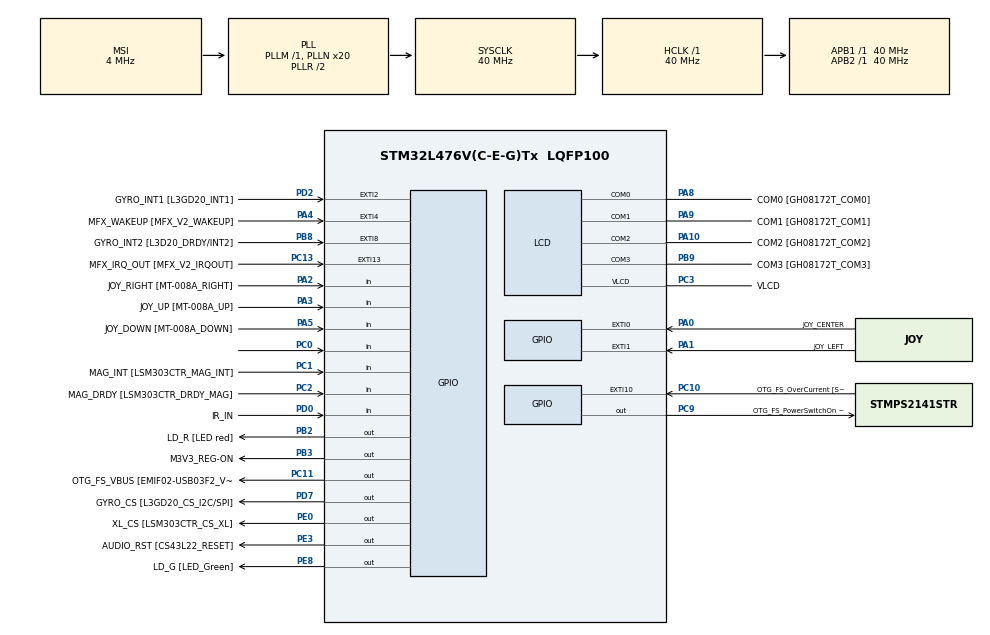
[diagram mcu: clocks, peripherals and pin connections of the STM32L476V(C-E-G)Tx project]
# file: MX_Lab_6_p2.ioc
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Mcu.Family=STM32L4
Mcu.Name=STM32L476V(C-E-G)Tx
Mcu.Package=LQFP100
NVIC.EXTI0_IRQn=true\:0\:0\:false\:false\:true\:true\:true\:true
NVIC.EXTI1_IRQn=true\:0\:0\:false\:false\:true\:true\:true\:true
NVIC.LCD_IRQn=true\:0\:0\:false\:false\:true\:true\:false\:true
NVIC.PriorityGroup=NVIC_PRIORITYGROUP_4
NVIC.TIM7_IRQn=true\:0\:0\:false\:false\:true\:true\:true\:true
PA0.GPIO_Label=JOY_CENTER
PA0.GPIO_PuPd=GPIO_PULLDOWN
PA0.Signal=GPXTI0
PA1.GPIO_Label=JOY_LEFT
PA1.GPIO_PuPd=GPIO_PULLDOWN
PA1.Signal=GPXTI1
PA10.GPIO_Label=COM2 [GH08172T_COM2]
PA10.GPIO_Mode=GPIO_MODE_AF_PP
PA10.GPIO_PuPd=GPIO_NOPULL
PA10.GPIO_Speed=GPIO_SPEED_FREQ_LOW
PA10.Mode=1/4 Duty Cycle
PA10.Signal=LCD_COM2
PA11.GPIO_Label=OTG_FS_DM [EMIF02-USB03F2_D-out]
PA11.GPIO_Mode=GPIO_MODE_AF_PP
PA11.GPIO_PuPd=GPIO_NOPULL
PA11.GPIO_Speed=GPIO_SPEED_FREQ_VERY_HIGH
PA11.Signal=USB_OTG_FS_DM
PA12.GPIO_Label=OTG_FS_DP [EMIF02-USB03F2_D+out]
PA12.GPIO_Mode=GPIO_MODE_AF_PP
PA12.GPIO_PuPd=GPIO_NOPULL
PA12.GPIO_Speed=GPIO_SPEED_FREQ_VERY_HIGH
PA12.Signal=USB_OTG_FS_DP
PA13\ (JTMS-SWDIO).GPIO_Label=SWDIO
PA13\ (JTMS-SWDIO).Mode=Serial_Wire
PA13\ (JTMS-SWDIO).Signal=SYS_JTMS-SWDIO
PA14\ (JTCK-SWCLK).GPIO_Label=SWCLK
PA14\ (JTCK-SWCLK).Mode=Serial_Wire
PA14\ (JTCK-SWCLK).Signal=SYS_JTCK-SWCLK
PA15\ (JTDI).GPIO_Label=SEG10 [GH08172T_SEG10]
PA15\ (JTDI).GPIO_Mode=GPIO_MODE_AF_PP
PA15\ (JTDI).GPIO_PuPd=GPIO_NOPULL
PA15\ (JTDI).GPIO_Speed=GPIO_SPEED_FREQ_LOW
PA15\ (JTDI).Signal=LCD_SEG17
PA2.GPIO_Label=JOY_RIGHT [MT-008A_RIGHT]
PA2.GPIO_Mode=GPIO_MODE_INPUT
PA2.GPIO_PuPd=GPIO_PULLDOWN
PA2.Signal=GPIO_Input
PA3.GPIO_Label=JOY_UP [MT-008A_UP]
PA3.GPIO_Mode=GPIO_MODE_INPUT
PA3.GPIO_PuPd=GPIO_PULLDOWN
PA3.Signal=GPIO_Input
PA4.GPIO_Label=MFX_WAKEUP [MFX_V2_WAKEUP]
PA4.GPIO_ModeDefaultEXTI=GPIO_MODE_EVT_RISING
PA4.GPIO_PuPd=GPIO_NOPULL
PA4.Signal=GPXTI4
PA5.GPIO_Label=JOY_DOWN [MT-008A_DOWN]
PA5.GPIO_Mode=GPIO_MODE_INPUT
PA5.GPIO_PuPd=GPIO_PULLDOWN
PA5.Signal=GPIO_Input
PA6.GPIO_Label=SEG23 [GH08172T_SEG23]
PA6.GPIO_Mode=GPIO_MODE_AF_PP
PA6.GPIO_PuPd=GPIO_NOPULL
PA6.GPIO_Speed=GPIO_SPEED_FREQ_LOW
PA6.Signal=LCD_SEG3
PA7.GPIO_Label=SEG0 [GH08172T_SEG0]
PA7.GPIO_Mode=GPIO_MODE_AF_PP
PA7.GPIO_PuPd=GPIO_NOPULL
PA7.GPIO_Speed=GPIO_SPEED_FREQ_LOW
PA7.Signal=LCD_SEG4
PA8.GPIO_Label=COM0 [GH08172T_COM0]
PA8.GPIO_Mode=GPIO_MODE_AF_PP
PA8.GPIO_PuPd=GPIO_NOPULL
PA8.GPIO_Speed=GPIO_SPEED_FREQ_LOW
PA8.Mode=1/4 Duty Cycle
PA8.Signal=LCD_COM0
PA9.GPIO_Label=COM1 [GH08172T_COM1]
PA9.GPIO_Mode=GPIO_MODE_AF_PP
PA9.GPIO_PuPd=GPIO_NOPULL
PA9.GPIO_Speed=GPIO_SPEED_FREQ_LOW
PA9.Mode=1/4 Duty Cycle
PA9.Signal=LCD_COM1
PB0.GPIO_Label=SEG21 [GH08172T_SEG21]
PB0.GPIO_Mode=GPIO_MODE_AF_PP
PB0.GPIO_PuPd=GPIO_NOPULL
PB0.GPIO_Speed=GPIO_SPEED_FREQ_LOW
PB0.Signal=LCD_SEG5
PB1.GPIO_Label=SEG2 [GH08172T_SEG2]
PB1.GPIO_Mode=GPIO_MODE_AF_PP
PB1.GPIO_PuPd=GPIO_NOPULL
PB1.GPIO_Speed=GPIO_SPEED_FREQ_LOW
PB1.Signal=LCD_SEG6
PB10.GPIO_Label=MFX_I2C_SLC [MFX_V2_I2C_SCL]
PB10.GPIO_Mode=GPIO_MODE_AF_OD
PB10.GPIO_Pu=GPIO_PULLUP
PB10.GPIO_Speed=GPIO_SPEED_FREQ_VERY_HIGH
PB10.Signal=I2C2_SCL
PB11.GPIO_Label=MFX_I2C_SDA [MFX_V2_I2C_SDA]
PB11.GPIO_Mode=GPIO_MODE_AF_OD
PB11.GPIO_Pu=GPIO_PULLUP
PB11.GPIO_Speed=GPIO_SPEED_FREQ_VERY_HIGH
PB11.Signal=I2C2_SDA
PB12.GPIO_Label=SEG20 [GH08172T_SEG20]
PB12.GPIO_Mode=GPIO_MODE_AF_PP
PB12.GPIO_PuPd=GPIO_NOPULL
PB12.GPIO_Speed=GPIO_SPEED_FREQ_LOW
PB12.Signal=LCD_SEG12
PB13.GPIO_Label=SEG3 [GH08172T_SEG3]
PB13.GPIO_Mode=GPIO_MODE_AF_PP
PB13.GPIO_PuPd=GPIO_NOPULL
PB13.GPIO_Speed=GPIO_SPEED_FREQ_LOW
PB13.Signal=LCD_SEG13
PB14.GPIO_Label=SEG19 [GH08172T_SEG19]
PB14.GPIO_Mode=GPIO_MODE_AF_PP
PB14.GPIO_PuPd=GPIO_NOPULL
PB14.GPIO_Speed=GPIO_SPEED_FREQ_LOW
PB14.Signal=LCD_SEG14
PB15.GPIO_Label=SEG4 [GH08172T_SEG4]
PB15.GPIO_Mode=GPIO_MODE_AF_PP
PB15.GPIO_PuPd=GPIO_NOPULL
PB15.GPIO_Speed=GPIO_SPEED_FREQ_LOW
PB15.Signal=LCD_SEG15
PB2.GPIO_Label=LD_R [LED red]
PB2.GPIO_ModeDefaultOutputPP=GPIO_MODE_OUTPUT_PP
PB2.GPIO_PuPd=GPIO_PULLUP
PB2.GPIO_Speed=GPIO_SPEED_FREQ_VERY_HIGH
PB2.Signal=GPIO_Output
PB3\ (JTDO-TRACESWO).GPIO_Label=M3V3_REG-ON
PB3\ (JTDO-TRACESWO).GPIO_ModeDefaultOutputPP=GPIO_MODE_OUTPUT_PP
PB3\ (JTDO-TRACESWO).GPIO_PuPd=GPIO_NOPULL
PB3\ (JTDO-TRACESWO).GPIO_Speed=GPIO_SPEED_FREQ_LOW
PB3\ (JTDO-TRACESWO).Signal=GPIO_Output
PB4\ (NJTRST).GPIO_Label=SEG11 [GH08172T_SEG11]
PB4\ (NJTRST).GPIO_Mode=GPIO_MODE_AF_PP
PB4\ (NJTRST).GPIO_PuPd=GPIO_NOPULL
PB4\ (NJTRST).GPIO_Speed=GPIO_SPEED_FREQ_LOW
PB4\ (NJTRST).Signal=LCD_SEG8
PB5.GPIO_Label=SEG12 [GH08172T_SEG12]
PB5.GPIO_Mode=GPIO_MODE_AF_PP
PB5.GPIO_PuPd=GPIO_NOPULL
PB5.GPIO_Speed=GPIO_SPEED_FREQ_LOW
PB5.Signal=LCD_SEG9
PB6.GPIO_FM6=__NULL
PB6.GPIO_Label=I2C1_SCL [SSM-104-L-DH_SCL]
PB6.GPIO_Mode=GPIO_MODE_AF_OD
PB6.GPIO_Pu=GPIO_PULLUP
PB6.GPIO_Speed=GPIO_SPEED_FREQ_VERY_HIGH
PB6.Signal=I2C1_SCL
PB7.GPIO_FM7=__NULL
PB7.GPIO_Label=I2C1_SDA [SSM-104-L-DH_SDA]
PB7.GPIO_Mode=GPIO_MODE_AF_OD
PB7.GPIO_Pu=GPIO_PULLUP
PB7.GPIO_Speed=GPIO_SPEED_FREQ_VERY_HIGH
PB7.Signal=I2C1_SDA
PB8.GPIO_Label=GYRO_INT2 [L3D20_DRDY/INT2]
PB8.GPIO_ModeDefaultEXTI=GPIO_MODE_EVT_RISING
PB8.GPIO_PuPd=GPIO_NOPULL
PB8.Signal=GPXTI8
PB9.GPIO_FM9=__NULL
PB9.GPIO_Label=COM3 [GH08172T_COM3]
PB9.GPIO_Mode=GPIO_MODE_AF_PP
PB9.GPIO_PuPd=GPIO_NOPULL
PB9.GPIO_Speed=GPIO_SPEED_FREQ_LOW
PB9.Mode=1/4 Duty Cycle
PB9.Signal=LCD_COM3
PC0.Signal=GPIO_Input
PC1.GPIO_Label=MAG_INT [LSM303CTR_MAG_INT]
PC1.GPIO_Mode=GPIO_MODE_INPUT
PC1.GPIO_PuPd=GPIO_NOPULL
PC1.Signal=GPIO_Input
PC10.GPIO_Label=OTG_FS_OverCurrent [STMPS2141STR_FAULT]
PC10.GPIO_ModeDefaultEXTI=GPIO_MODE_EVT_RISING
PC10.GPIO_PuPd=GPIO_NOPULL
PC10.Signal=GPXTI10
PC11.GPIO_Label=OTG_FS_VBUS [EMIF02-USB03F2_Vbus]
PC11.GPIO_ModeDefaultOutputPP=GPIO_MODE_OUTPUT_PP
PC11.GPIO_PuPd=GPIO_NOPULL
PC11.GPIO_Speed=GPIO_SPEED_FREQ_LOW
PC11.Signal=GPIO_Output
PC13.GPIO_Label=MFX_IRQ_OUT [MFX_V2_IRQOUT]
PC13.GPIO_ModeDefaultEXTI=GPIO_MODE_EVT_RISING
PC13.GPIO_PuPd=GPIO_NOPULL
PC13.Signal=GPXTI13
PC14-OSC32_IN\ (PC14).Mode=LSE-External-Oscillator
PC14-OSC32_IN\ (PC14).Signal=RCC_OSC32_IN
PC15-OSC32_OUT\ (PC15).Mode=LSE-External-Oscillator
PC15-OSC32_OUT\ (PC15).Signal=RCC_OSC32_OUT
PC2.GPIO_Label=MAG_DRDY [LSM303CTR_DRDY_MAG]
PC2.GPIO_Mode=GPIO_MODE_INPUT
PC2.GPIO_PuPd=GPIO_NOPULL
PC2.Signal=GPIO_Input
PC3.GPIO_Label=VLCD
PC3.GPIO_Mode=GPIO_MODE_AF_PP
PC3.GPIO_PuPd=GPIO_NOPULL
PC3.GPIO_Speed=GPIO_SPEED_FREQ_LOW
PC3.Mode=1/4 Duty Cycle
PC3.Signal=LCD_VLCD
PC4.GPIO_Label=SEG22 [GH08172T_SEG22]
PC4.GPIO_Mode=GPIO_MODE_AF_PP
PC4.GPIO_PuPd=GPIO_NOPULL
PC4.GPIO_Speed=GPIO_SPEED_FREQ_LOW
PC4.Signal=LCD_SEG22
PC5.GPIO_Label=SEG1 [GH08172T_SEG1]
PC5.GPIO_Mode=GPIO_MODE_AF_PP
PC5.GPIO_PuPd=GPIO_NOPULL
PC5.GPIO_Speed=GPIO_SPEED_FREQ_LOW
PC5.Signal=LCD_SEG23
PC6.GPIO_Label=SEG14 [GH08172T_SEG14]
PC6.GPIO_Mode=GPIO_MODE_AF_PP
PC6.GPIO_PuPd=GPIO_NOPULL
PC6.GPIO_Speed=GPIO_SPEED_FREQ_LOW
PC6.Signal=LCD_SEG24
PC7.GPIO_Label=SEG9 [GH08172T_SEG9]
PC7.GPIO_Mode=GPIO_MODE_AF_PP
PC7.GPIO_PuPd=GPIO_NOPULL
PC7.GPIO_Speed=GPIO_SPEED_FREQ_LOW
PC7.Signal=LCD_SEG25
PC8.GPIO_Label=SEG13 [GH08172T_SEG13]
PC8.GPIO_Mode=GPIO_MODE_AF_PP
PC8.GPIO_PuPd=GPIO_NOPULL
PC8.GPIO_Speed=GPIO_SPEED_FREQ_LOW
PC8.Signal=LCD_SEG26
PC9.GPIO_Label=OTG_FS_PowerSwitchOn [STMPS2141STR_EN]
PC9.GPIO_ModeDefaultOutputPP=GPIO_MODE_OUTPUT_PP
PC9.GPIO_PuPd=GPIO_NOPULL
PC9.GPIO_Speed=GPIO_SPEED_FREQ_LOW
PC9.PinState=GPIO_PIN_SET
PC9.Signal=GPIO_Output
PD0.GPIO_Label=IR_IN
PD0.Signal=GPIO_Input
PD1.GPIO_Label=MEMS_SCK [L3GD20_SCL/SPC]
PD1.GPIO_Mode=GPIO_MODE_AF_PP
PD1.GPIO_PuPd=GPIO_NOPULL
PD1.GPIO_Speed=GPIO_SPEED_FREQ_VERY_HIGH
PD1.Signal=SPI2_SCK
PD10.GPIO_Label=SEG17 [GH08172T_SEG17]
PD10.GPIO_Mode=GPIO_MODE_AF_PP
PD10.GPIO_PuPd=GPIO_NOPULL
PD10.GPIO_Speed=GPIO_SPEED_FREQ_LOW
PD10.Signal=LCD_SEG30
PD11.GPIO_Label=SEG6 [GH08172T_SEG6]
PD11.GPIO_Mode=GPIO_MODE_AF_PP
PD11.GPIO_PuPd=GPIO_NOPULL
PD11.GPIO_Speed=GPIO_SPEED_FREQ_LOW
PD11.Signal=LCD_SEG31
PD12.GPIO_Label=SEG16 [GH08172T_SEG16]
PD12.GPIO_Mode=GPIO_MODE_AF_PP
PD12.GPIO_PuPd=GPIO_NOPULL
PD12.GPIO_Speed=GPIO_SPEED_FREQ_LOW
PD12.Signal=LCD_SEG32
PD13.GPIO_Label=SEG7 [GH08172T_SEG7]
PD13.GPIO_Mode=GPIO_MODE_AF_PP
PD13.GPIO_PuPd=GPIO_NOPULL
PD13.GPIO_Speed=GPIO_SPEED_FREQ_LOW
PD13.Signal=LCD_SEG33
PD14.GPIO_Label=SEG15 [GH08172T_SEG15]
PD14.GPIO_Mode=GPIO_MODE_AF_PP
PD14.GPIO_PuPd=GPIO_NOPULL
PD14.GPIO_Speed=GPIO_SPEED_FREQ_LOW
PD14.Signal=LCD_SEG34
PD15.GPIO_Label=SEG8 [GH08172T_SEG8]
PD15.GPIO_Mode=GPIO_MODE_AF_PP
PD15.GPIO_PuPd=GPIO_NOPULL
PD15.GPIO_Speed=GPIO_SPEED_FREQ_LOW
PD15.Signal=LCD_SEG35
PD2.GPIO_Label=GYRO_INT1 [L3GD20_INT1]
PD2.GPIO_ModeDefaultEXTI=GPIO_MODE_EVT_RISING
PD2.GPIO_PuPd=GPIO_NOPULL
PD2.Signal=GPXTI2
PD3.GPIO_Label=MEMS_MISO [L3GD20_SA0/SDO]
PD3.GPIO_Mode=GPIO_MODE_AF_PP
PD3.GPIO_PuPd=GPIO_NOPULL
PD3.GPIO_Speed=GPIO_SPEED_FREQ_VERY_HIGH
PD3.Signal=SPI2_MISO
PD4.GPIO_Label=MEMS_MOSI [L3GD20_SDA/SDI/SDO]
PD4.GPIO_Mode=GPIO_MODE_AF_PP
PD4.GPIO_PuPd=GPIO_NOPULL
PD4.GPIO_Speed=GPIO_SPEED_FREQ_VERY_HIGH
PD4.Signal=SPI2_MOSI
PD5.GPIO_Label=USART_TX
PD5.GPIO_Mode=GPIO_MODE_AF_PP
PD5.GPIO_PuPd=GPIO_PULLUP
PD5.GPIO_Speed=GPIO_SPEED_FREQ_VERY_HIGH
PD5.Signal=USART2_TX
PD6.GPIO_Label=USART_RX
PD6.GPIO_Mode=GPIO_MODE_AF_PP
PD6.GPIO_PuPd=GPIO_PULLUP
PD6.GPIO_Speed=GPIO_SPEED_FREQ_VERY_HIGH
PD6.Signal=USART2_RX
PD7.GPIO_Label=GYRO_CS [L3GD20_CS_I2C/SPI]
PD7.GPIO_ModeDefaultOutputPP=GPIO_MODE_OUTPUT_PP
PD7.GPIO_PuPd=GPIO_NOPULL
PD7.GPIO_Speed=GPIO_SPEED_FREQ_VERY_HIGH
PD7.Signal=GPIO_Output
PD8.GPIO_Label=SEG18 [GH08172T_SEG18]
PD8.GPIO_Mode=GPIO_MODE_AF_PP
PD8.GPIO_PuPd=GPIO_NOPULL
PD8.GPIO_Speed=GPIO_SPEED_FREQ_LOW
PD8.Signal=LCD_SEG28
PD9.GPIO_Label=SEG5 [GH08172T_SEG5]
PD9.GPIO_Mode=GPIO_MODE_AF_PP
PD9.GPIO_PuPd=GPIO_NOPULL
PD9.GPIO_Speed=GPIO_SPEED_FREQ_LOW
PD9.Signal=LCD_SEG29
PE0.GPIO_Label=XL_CS [LSM303CTR_CS_XL]
PE0.GPIO_ModeDefaultOutputPP=GPIO_MODE_OUTPUT_PP
PE0.GPIO_PuPd=GPIO_NOPULL
PE0.GPIO_Speed=GPIO_SPEED_FREQ_LOW
PE0.Signal=GPIO_Output
PE10.GPIO_Label=QSPI_CLK [N25Q128A13EF840E_C]
PE10.GPIO_Mode=GPIO_MODE_AF_PP
PE10.GPIO_PuPd=GPIO_NOPULL
PE10.GPIO_Speed=GPIO_SPEED_FREQ_VERY_HIGH
PE10.Signal=QUADSPI_CLK
PE11.GPIO_Label=QSPI_CS [N25Q128A13EF840E_S\#]
PE11.GPIO_Mode=GPIO_MODE_AF_PP
PE11.GPIO_PuPd=GPIO_NOPULL
PE11.GPIO_Speed=GPIO_SPEED_FREQ_VERY_HIGH
PE11.Signal=QUADSPI_NCS
PE12.GPIO_Label=QSPI_D0 [N25Q128A13EF840E_DQ0]
PE12.GPIO_Mode=GPIO_MODE_AF_PP
PE12.GPIO_PuPd=GPIO_NOPULL
PE12.GPIO_Speed=GPIO_SPEED_FREQ_VERY_HIGH
PE12.Signal=QUADSPI_BK1_IO0
PE13.GPIO_Label=QSPI_D1 [N25Q128A13EF840E_DQ1]
PE13.GPIO_Mode=GPIO_MODE_AF_PP
PE13.GPIO_PuPd=GPIO_NOPULL
PE13.GPIO_Speed=GPIO_SPEED_FREQ_VERY_HIGH
PE13.Signal=QUADSPI_BK1_IO1
PE14.GPIO_Label=QSPI_D2 [N25Q128A13EF840E_DQ2]
PE14.GPIO_Mode=GPIO_MODE_AF_PP
PE14.GPIO_PuPd=GPIO_NOPULL
PE14.GPIO_Speed=GPIO_SPEED_FREQ_VERY_HIGH
PE14.Signal=QUADSPI_BK1_IO2
PE15.GPIO_Label=QSPI_D3 [N25Q128A13EF840E_DQ3]
PE15.GPIO_Mode=GPIO_MODE_AF_PP
PE15.GPIO_PuPd=GPIO_NOPULL
PE15.GPIO_Speed=GPIO_SPEED_FREQ_VERY_HIGH
PE15.Signal=QUADSPI_BK1_IO3
PE2.GPIO_Label=SAI1_MCK [CS43L22_MCLK]
PE2.GPIO_Mode=GPIO_MODE_AF_PP
PE2.GPIO_PuPd=GPIO_NOPULL
PE2.GPIO_Speed=GPIO_SPEED_FREQ_VERY_HIGH
PE2.Signal=SAI1_MCLK_A
PE3.GPIO_Label=AUDIO_RST [CS43L22_RESET]
PE3.GPIO_ModeDefaultOutputPP=GPIO_MODE_OUTPUT_PP
PE3.GPIO_PuPd=GPIO_NOPULL
PE3.GPIO_Speed=GPIO_SPEED_FREQ_HIGH
PE3.Signal=GPIO_Output
PE4.GPIO_Label=SAI1_FS [CS43L22_LRCK]
PE4.GPIO_Mode=GPIO_MODE_AF_PP
PE4.GPIO_PuPd=GPIO_NOPULL
PE4.GPIO_Speed=GPIO_SPEED_FREQ_VERY_HIGH
PE4.Signal=SAI1_FS_A
PE5.GPIO_Label=SAI1_SCK [CS43L22_SCLK]
PE5.GPIO_Mode=GPIO_MODE_AF_PP
PE5.GPIO_PuPd=GPIO_NOPULL
PE5.GPIO_Speed=GPIO_SPEED_FREQ_VERY_HIGH
PE5.Signal=SAI1_SCK_A
PE6.GPIO_Label=SAI1_SD [CS43L22_SDIN]
PE6.GPIO_Mode=GPIO_MODE_AF_PP
PE6.GPIO_PuPd=GPIO_NOPULL
PE6.GPIO_Speed=GPIO_SPEED_FREQ_VERY_HIGH
PE6.Signal=SAI1_SD_A
PE7.GPIO_Label=AUDIO_DIN [MP34DT01_DOUT]
PE7.GPIO_Mode=GPIO_MODE_AF_PP
PE7.GPIO_PuPd=GPIO_NOPULL
PE7.GPIO_Speed=GPIO_SPEED_FREQ_VERY_HIGH
PE7.Signal=SAI1_SD_B
PE8.GPIO_Label=LD_G [LED_Green]
PE8.GPIO_ModeDefaultOutputPP=GPIO_MODE_OUTPUT_PP
PE8.GPIO_PuPd=GPIO_PULLUP
PE8.GPIO_Speed=GPIO_SPEED_FREQ_VERY_HIGH
PE8.Signal=GPIO_Output
PE9.GPIO_Label=AUDIO_CLK [MP34DT01_CLK]
PE9.GPIO_Mode=GPIO_MODE_AF_PP
PE9.GPIO_PuPd=GPIO_NOPULL
PE9.GPIO_Speed=GPIO_SPEED_FREQ_LOW
PE9.Signal=SAI1_FS_B
PH0-OSC_IN\ (PH0).Mode=HSE-External-Oscillator
PH0-OSC_IN\ (PH0).Signal=RCC_OSC_IN
PH1-OSC_OUT\ (PH1).Mode=HSE-External-Oscillator
PH1-OSC_OUT\ (PH1).Signal=RCC_OSC_OUT
ProjectManager.HeapSize=0x200
ProjectManager.StackSize=0x400
ProjectManager.TargetToolchain=MDK-ARM V5.32
RCC.ADCFreq_Value=48000000
RCC.AHBFreq_Value=40000000
RCC.APB1Freq_Value=40000000
RCC.APB1TimFreq_Value=40000000
RCC.APB2Freq_Value=40000000
RCC.APB2TimFreq_Value=40000000
RCC.CortexFreq_Value=40000000
RCC.HCLKFreq_Value=40000000
RCC.HSE_VALUE=8000000
RCC.HSI_VALUE=16000000
RCC.MSI_VALUE=4000000
RCC.PLLN=20
RCC.PLLSAI1N=24
RCC.PREFETCH_ENABLE=1
RCC.SYSCLKFreq_VALUE=40000000
RCC.SYSCLKSource=RCC_SYSCLKSOURCE_PLLCLK
RCC.USBFreq_Value=48000000
RCC.VCOOutputFreq_Value=80000000
TIM7.Period=199
TIM7.Prescaler=19
VP_RTC_VS_RTC_Activate.Mode=RTC_Enabled
VP_TIM7_VS_ClockSourceINT.Mode=Enable_Timer
board=STM32L476G-DISCO

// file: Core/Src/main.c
/* USER CODE BEGIN Header */
/**
  ******************************************************************************
  * @file           : main.c
  * @brief          : Main program body
  ******************************************************************************
  * @attention
  *
  * Copyright (c) 2024 STMicroelectronics.
  * All rights reserved.
  *
  * This software is licensed under terms that can be found in the LICENSE file
  * in the root directory of this software component.
  * If no LICENSE file comes with this software, it is provided AS-IS.
  *
  ******************************************************************************
  */
/* USER CODE END Header */
#include "main.h"

/* USER CODE BEGIN Includes */
#include "stm32l476g_discovery.h"
#include "stm32l476g_discovery_glass_lcd.h"
/* USER CODE END Includes */

LCD_HandleTypeDef hlcd;

RTC_HandleTypeDef hrtc;

TIM_HandleTypeDef htim7;

/* USER CODE BEGIN PV */
volatile unsigned int irdat[SAMPLE_COUNT];
unsigned int z;
extern int flag;
#define IR_A 0x00ff22dd
#define IR_B 0x00ff02fd
#define IR_C 0x00ffc23d
#define IR_POWER 0x00ff629d
#define IR_UP 0x00ff9867
#define IR_DOWN 0x00ff38c7
#define IR_LEFT 0x00ff30cf
#define IR_RIGHT 0x00ff7a85
#define IR_CIRCLE 0x00ff18e7
/* USER CODE END PV */

void SystemClock_Config(void);
static void MX_GPIO_Init(void);
static void MX_RTC_Init(void);
static void MX_LCD_Init(void);
static void MX_TIM7_Init(void);

/* USER CODE BEGIN 0 */
uint32_t parseIRCode()
	{
    uint32_t num = 0;
		int count = 0;
		int arrayCount = 0;
		uint32_t mask = 0x80000000;
		/*skips header */
		while(irdat[arrayCount] !=0)
		{
			arrayCount++;
		}
		while(irdat[arrayCount] !=1)
		{
			arrayCount++;
		}
		/* skips header */
		while(arrayCount != SAMPLE_COUNT)
		{
			if(irdat[arrayCount] ==0)
			{
				count++;
			}
			else
			{
				if(count < 8 && count !=0)
				{
					mask/=2;
				}
				else if(count > 8 && count != 0)
				{
					num |= mask;
					mask/=2;
				}
				count = 0;
			}
			arrayCount++;
		}
		return num;
	}
/* USER CODE END 0 */

int main(void)
{

  /* MCU Configuration--------------------------------------------------------*/

  /* Reset of all peripherals, Initializes the Flash interface and the Systick. */
  HAL_Init();

  /* Configure the system clock */
  SystemClock_Config();

  /* Initialize all configured peripherals */
  MX_GPIO_Init();
  MX_RTC_Init();
  MX_LCD_Init();
  MX_TIM7_Init();
  /* USER CODE BEGIN 2 */
	HAL_TIM_Base_Start_IT(&htim7);
	BSP_LCD_GLASS_Init();
	BSP_LCD_GLASS_ClearBar(0xFFFFFFFF);
	BSP_LCD_GLASS_Clear();
	//only because text has to be right justified
	char *strings [9] = {" POWER", "     A", "     B", "     C", "    UP", "  DOWN", "  LEFT", " RIGHT", "CIRCLE"};
  /* USER CODE END 2 */

  /* Infinite loop */
  /* USER CODE BEGIN WHILE */
  while (1)
  {
		if(flag == 1)
		{
			uint32_t num = parseIRCode();
			if(num == IR_A)
			{
				uint8_t * word = (uint8_t *) strings[1];
				BSP_LCD_GLASS_DisplayString(word);
				HAL_Delay(1000);
				BSP_LCD_GLASS_Clear();
				num=0;
			}
			if(num == IR_B)
			{
				uint8_t * word = (uint8_t *) strings[2];
				BSP_LCD_GLASS_DisplayString(word);
				HAL_Delay(1000);
				BSP_LCD_GLASS_Clear();
				num=0;
			}
			if(num == IR_C)
			{
				uint8_t * word = (uint8_t *) strings[3];
				BSP_LCD_GLASS_DisplayString(word);
				HAL_Delay(1000);
				BSP_LCD_GLASS_Clear();
				num=0;
			}
			if(num == IR_POWER)
			{
				uint8_t * word = (uint8_t *) strings[0];
				BSP_LCD_GLASS_DisplayString(word);
				HAL_Delay(1000);
				BSP_LCD_GLASS_Clear();
				num=0;
			}
			if(num == IR_UP)
			{
				uint8_t * word = (uint8_t *) strings[4];
				BSP_LCD_GLASS_DisplayString(word);
				HAL_Delay(1000);
				BSP_LCD_GLASS_Clear();
				num=0;
			}
			if(num == IR_DOWN)
			{
				uint8_t * word = (uint8_t *) strings[5];
				BSP_LCD_GLASS_DisplayString(word);
				HAL_Delay(1000);
				BSP_LCD_GLASS_Clear();
				num=0;
			}
			if(num == IR_LEFT)
			{
				uint8_t * word = (uint8_t *) strings[6];
				BSP_LCD_GLASS_DisplayString(word);
				HAL_Delay(1000);
				BSP_LCD_GLASS_Clear();
				num=0;
			}
			if(num == IR_RIGHT)
			{
				uint8_t * word = (uint8_t *) strings[7];
				BSP_LCD_GLASS_DisplayString(word);
				HAL_Delay(1000);
				BSP_LCD_GLASS_Clear();
				num=0;
			}
			if(num == IR_CIRCLE)
			{
				uint8_t * word = (uint8_t *) strings[8];
				BSP_LCD_GLASS_DisplayString(word);
				HAL_Delay(1000);
				BSP_LCD_GLASS_Clear();
				num=0;
			}
			flag=0;
		}
    /* USER CODE END WHILE */

  }
}

void SystemClock_Config(void)
{
  RCC_OscInitTypeDef RCC_OscInitStruct = {0};
  RCC_ClkInitTypeDef RCC_ClkInitStruct = {0};

  /** Configure the main internal regulator output voltage
  */
  if (HAL_PWREx_ControlVoltageScaling(PWR_REGULATOR_VOLTAGE_SCALE1) != HAL_OK)
  {
    Error_Handler();
  }

  /** Configure LSE Drive Capability
  */
  HAL_PWR_EnableBkUpAccess();
  __HAL_RCC_LSEDRIVE_CONFIG(RCC_LSEDRIVE_LOW);

  /** Initializes the RCC Oscillators according to the specified parameters
  * in the RCC_OscInitTypeDef structure.
  */
  RCC_OscInitStruct.OscillatorType = RCC_OSCILLATORTYPE_LSI|RCC_OSCILLATORTYPE_LSE
                              |RCC_OSCILLATORTYPE_MSI;
  RCC_OscInitStruct.LSEState = RCC_LSE_ON;
  RCC_OscInitStruct.LSIState = RCC_LSI_ON;
  RCC_OscInitStruct.MSIState = RCC_MSI_ON;
  RCC_OscInitStruct.MSICalibrationValue = 0;
  RCC_OscInitStruct.MSIClockRange = RCC_MSIRANGE_6;
  RCC_OscInitStruct.PLL.PLLState = RCC_PLL_ON;
  RCC_OscInitStruct.PLL.PLLSource = RCC_PLLSOURCE_MSI;
  RCC_OscInitStruct.PLL.PLLM = 1;
  RCC_OscInitStruct.PLL.PLLN = 20;
  RCC_OscInitStruct.PLL.PLLP = RCC_PLLP_DIV7;
  RCC_OscInitStruct.PLL.PLLQ = RCC_PLLQ_DIV2;
  RCC_OscInitStruct.PLL.PLLR = RCC_PLLR_DIV2;
  if (HAL_RCC_OscConfig(&RCC_OscInitStruct) != HAL_OK)
  {
    Error_Handler();
  }

  /** Initializes the CPU, AHB and APB buses clocks
  */
  RCC_ClkInitStruct.ClockType = RCC_CLOCKTYPE_HCLK|RCC_CLOCKTYPE_SYSCLK
                              |RCC_CLOCKTYPE_PCLK1|RCC_CLOCKTYPE_PCLK2;
  RCC_ClkInitStruct.SYSCLKSource = RCC_SYSCLKSOURCE_PLLCLK;
  RCC_ClkInitStruct.AHBCLKDivider = RCC_SYSCLK_DIV1;
  RCC_ClkInitStruct.APB1CLKDivider = RCC_HCLK_DIV1;
  RCC_ClkInitStruct.APB2CLKDivider = RCC_HCLK_DIV1;

  if (HAL_RCC_ClockConfig(&RCC_ClkInitStruct, FLASH_LATENCY_2) != HAL_OK)
  {
    Error_Handler();
  }

  /** Enable MSI Auto calibration
  */
  HAL_RCCEx_EnableMSIPLLMode();
}

static void MX_LCD_Init(void)
{

  hlcd.Instance = LCD;
  hlcd.Init.Prescaler = LCD_PRESCALER_1;
  hlcd.Init.Divider = LCD_DIVIDER_16;
  hlcd.Init.Duty = LCD_DUTY_1_4;
  hlcd.Init.Bias = LCD_BIAS_1_4;
  hlcd.Init.VoltageSource = LCD_VOLTAGESOURCE_INTERNAL;
  hlcd.Init.Contrast = LCD_CONTRASTLEVEL_0;
  hlcd.Init.DeadTime = LCD_DEADTIME_0;
  hlcd.Init.PulseOnDuration = LCD_PULSEONDURATION_0;
  hlcd.Init.MuxSegment = LCD_MUXSEGMENT_DISABLE;
  hlcd.Init.BlinkMode = LCD_BLINKMODE_OFF;
  hlcd.Init.BlinkFrequency = LCD_BLINKFREQUENCY_DIV8;
  hlcd.Init.HighDrive = LCD_HIGHDRIVE_DISABLE;
  if (HAL_LCD_Init(&hlcd) != HAL_OK)
  {
    Error_Handler();
  }

}

static void MX_RTC_Init(void)
{

  /** Initialize RTC Only
  */
  hrtc.Instance = RTC;
  hrtc.Init.HourFormat = RTC_HOURFORMAT_24;
  hrtc.Init.AsynchPrediv = 127;
  hrtc.Init.SynchPrediv = 255;
  hrtc.Init.OutPut = RTC_OUTPUT_DISABLE;
  hrtc.Init.OutPutRemap = RTC_OUTPUT_REMAP_NONE;
  hrtc.Init.OutPutPolarity = RTC_OUTPUT_POLARITY_HIGH;
  hrtc.Init.OutPutType = RTC_OUTPUT_TYPE_OPENDRAIN;
  if (HAL_RTC_Init(&hrtc) != HAL_OK)
  {
    Error_Handler();
  }

}

static void MX_TIM7_Init(void)
{

  TIM_MasterConfigTypeDef sMasterConfig = {0};

  htim7.Instance = TIM7;
  htim7.Init.Prescaler = 19;
  htim7.Init.CounterMode = TIM_COUNTERMODE_UP;
  htim7.Init.Period = 199;
  htim7.Init.AutoReloadPreload = TIM_AUTORELOAD_PRELOAD_DISABLE;
  if (HAL_TIM_Base_Init(&htim7) != HAL_OK)
  {
    Error_Handler();
  }
  sMasterConfig.MasterOutputTrigger = TIM_TRGO_RESET;
  sMasterConfig.MasterSlaveMode = TIM_MASTERSLAVEMODE_DISABLE;
  if (HAL_TIMEx_MasterConfigSynchronization(&htim7, &sMasterConfig) != HAL_OK)
  {
    Error_Handler();
  }

}

static void MX_GPIO_Init(void)
{
  GPIO_InitTypeDef GPIO_InitStruct = {0};

  /* GPIO Ports Clock Enable */
  __HAL_RCC_GPIOE_CLK_ENABLE();
  __HAL_RCC_GPIOC_CLK_ENABLE();
  __HAL_RCC_GPIOH_CLK_ENABLE();
  __HAL_RCC_GPIOA_CLK_ENABLE();
  __HAL_RCC_GPIOB_CLK_ENABLE();
  __HAL_RCC_GPIOD_CLK_ENABLE();

  /*Configure GPIO pin Output Level */
  HAL_GPIO_WritePin(GPIOE, AUDIO_RST_Pin|LD_G_Pin|XL_CS_Pin, GPIO_PIN_RESET);

  /*Configure GPIO pin Output Level */
  HAL_GPIO_WritePin(GPIOB, LD_R_Pin|M3V3_REG_ON_Pin, GPIO_PIN_RESET);

  /*Configure GPIO pin Output Level */
  HAL_GPIO_WritePin(OTG_FS_PowerSwitchOn_GPIO_Port, OTG_FS_PowerSwitchOn_Pin, GPIO_PIN_SET);

  /*Configure GPIO pin Output Level */
  HAL_GPIO_WritePin(OTG_FS_VBUS_GPIO_Port, OTG_FS_VBUS_Pin, GPIO_PIN_RESET);

  /*Configure GPIO pin Output Level */
  HAL_GPIO_WritePin(GYRO_CS_GPIO_Port, GYRO_CS_Pin, GPIO_PIN_RESET);

  /*Configure GPIO pins : SAI1_MCK_Pin SAI1_FS_Pin SAI1_SCK_Pin SAI1_SD_Pin
                           AUDIO_DIN_Pin */
  GPIO_InitStruct.Pin = SAI1_MCK_Pin|SAI1_FS_Pin|SAI1_SCK_Pin|SAI1_SD_Pin
                          |AUDIO_DIN_Pin;
  GPIO_InitStruct.Mode = GPIO_MODE_AF_PP;
  GPIO_InitStruct.Pull = GPIO_NOPULL;
  GPIO_InitStruct.Speed = GPIO_SPEED_FREQ_VERY_HIGH;
  GPIO_InitStruct.Alternate = GPIO_AF13_SAI1;
  HAL_GPIO_Init(GPIOE, &GPIO_InitStruct);

  /*Configure GPIO pin : AUDIO_RST_Pin */
  GPIO_InitStruct.Pin = AUDIO_RST_Pin;
  GPIO_InitStruct.Mode = GPIO_MODE_OUTPUT_PP;
  GPIO_InitStruct.Pull = GPIO_NOPULL;
  GPIO_InitStruct.Speed = GPIO_SPEED_FREQ_HIGH;
  HAL_GPIO_Init(AUDIO_RST_GPIO_Port, &GPIO_InitStruct);

  /*Configure GPIO pins : MFX_IRQ_OUT_Pin OTG_FS_OverCurrent_Pin */
  GPIO_InitStruct.Pin = MFX_IRQ_OUT_Pin|OTG_FS_OverCurrent_Pin;
  GPIO_InitStruct.Mode = GPIO_MODE_EVT_RISING;
  GPIO_InitStruct.Pull = GPIO_NOPULL;
  HAL_GPIO_Init(GPIOC, &GPIO_InitStruct);

  /*Configure GPIO pins : PC0 MAG_INT_Pin MAG_DRDY_Pin */
  GPIO_InitStruct.Pin = GPIO_PIN_0|MAG_INT_Pin|MAG_DRDY_Pin;
  GPIO_InitStruct.Mode = GPIO_MODE_INPUT;
  GPIO_InitStruct.Pull = GPIO_NOPULL;
  HAL_GPIO_Init(GPIOC, &GPIO_InitStruct);

  /*Configure GPIO pins : JOY_CENTER_Pin JOY_LEFT_Pin */
  GPIO_InitStruct.Pin = JOY_CENTER_Pin|JOY_LEFT_Pin;
  GPIO_InitStruct.Mode = GPIO_MODE_IT_RISING;
  GPIO_InitStruct.Pull = GPIO_PULLDOWN;
  HAL_GPIO_Init(GPIOA, &GPIO_InitStruct);

  /*Configure GPIO pins : JOY_RIGHT_Pin JOY_UP_Pin JOY_DOWN_Pin */
  GPIO_InitStruct.Pin = JOY_RIGHT_Pin|JOY_UP_Pin|JOY_DOWN_Pin;
  GPIO_InitStruct.Mode = GPIO_MODE_INPUT;
  GPIO_InitStruct.Pull = GPIO_PULLDOWN;
  HAL_GPIO_Init(GPIOA, &GPIO_InitStruct);

  /*Configure GPIO pin : MFX_WAKEUP_Pin */
  GPIO_InitStruct.Pin = MFX_WAKEUP_Pin;
  GPIO_InitStruct.Mode = GPIO_MODE_EVT_RISING;
  GPIO_InitStruct.Pull = GPIO_NOPULL;
  HAL_GPIO_Init(MFX_WAKEUP_GPIO_Port, &GPIO_InitStruct);

  /*Configure GPIO pin : LD_R_Pin */
  GPIO_InitStruct.Pin = LD_R_Pin;
  GPIO_InitStruct.Mode = GPIO_MODE_OUTPUT_PP;
  GPIO_InitStruct.Pull = GPIO_PULLUP;
  GPIO_InitStruct.Speed = GPIO_SPEED_FREQ_VERY_HIGH;
  HAL_GPIO_Init(LD_R_GPIO_Port, &GPIO_InitStruct);

  /*Configure GPIO pin : LD_G_Pin */
  GPIO_InitStruct.Pin = LD_G_Pin;
  GPIO_InitStruct.Mode = GPIO_MODE_OUTPUT_PP;
  GPIO_InitStruct.Pull = GPIO_PULLUP;
  GPIO_InitStruct.Speed = GPIO_SPEED_FREQ_VERY_HIGH;
  HAL_GPIO_Init(LD_G_GPIO_Port, &GPIO_InitStruct);

  /*Configure GPIO pin : AUDIO_CLK_Pin */
  GPIO_InitStruct.Pin = AUDIO_CLK_Pin;
  GPIO_InitStruct.Mode = GPIO_MODE_AF_PP;
  GPIO_InitStruct.Pull = GPIO_NOPULL;
  GPIO_InitStruct.Speed = GPIO_SPEED_FREQ_LOW;
  GPIO_InitStruct.Alternate = GPIO_AF13_SAI1;
  HAL_GPIO_Init(AUDIO_CLK_GPIO_Port, &GPIO_InitStruct);

  /*Configure GPIO pins : QSPI_CLK_Pin QSPI_CS_Pin QSPI_D0_Pin QSPI_D1_Pin
                           QSPI_D2_Pin QSPI_D3_Pin */
  GPIO_InitStruct.Pin = QSPI_CLK_Pin|QSPI_CS_Pin|QSPI_D0_Pin|QSPI_D1_Pin
                          |QSPI_D2_Pin|QSPI_D3_Pin;
  GPIO_InitStruct.Mode = GPIO_MODE_AF_PP;
  GPIO_InitStruct.Pull = GPIO_NOPULL;
  GPIO_InitStruct.Speed = GPIO_SPEED_FREQ_VERY_HIGH;
  GPIO_InitStruct.Alternate = GPIO_AF10_QUADSPI;
  HAL_GPIO_Init(GPIOE, &GPIO_InitStruct);

  /*Configure GPIO pins : MFX_I2C_SLC_Pin MFX_I2C_SDA_Pin */
  GPIO_InitStruct.Pin = MFX_I2C_SLC_Pin|MFX_I2C_SDA_Pin;
  GPIO_InitStruct.Mode = GPIO_MODE_AF_OD;
  GPIO_InitStruct.Pull = GPIO_PULLUP;
  GPIO_InitStruct.Speed = GPIO_SPEED_FREQ_VERY_HIGH;
  GPIO_InitStruct.Alternate = GPIO_AF4_I2C2;
  HAL_GPIO_Init(GPIOB, &GPIO_InitStruct);

  /*Configure GPIO pins : OTG_FS_PowerSwitchOn_Pin OTG_FS_VBUS_Pin */
  GPIO_InitStruct.Pin = OTG_FS_PowerSwitchOn_Pin|OTG_FS_VBUS_Pin;
  GPIO_InitStruct.Mode = GPIO_MODE_OUTPUT_PP;
  GPIO_InitStruct.Pull = GPIO_NOPULL;
  GPIO_InitStruct.Speed = GPIO_SPEED_FREQ_LOW;
  HAL_GPIO_Init(GPIOC, &GPIO_InitStruct);

  /*Configure GPIO pins : OTG_FS_DM_Pin OTG_FS_DP_Pin */
  GPIO_InitStruct.Pin = OTG_FS_DM_Pin|OTG_FS_DP_Pin;
  GPIO_InitStruct.Mode = GPIO_MODE_AF_PP;
  GPIO_InitStruct.Pull = GPIO_NOPULL;
  GPIO_InitStruct.Speed = GPIO_SPEED_FREQ_VERY_HIGH;
  GPIO_InitStruct.Alternate = GPIO_AF10_OTG_FS;
  HAL_GPIO_Init(GPIOA, &GPIO_InitStruct);

  /*Configure GPIO pin : IR_IN_Pin */
  GPIO_InitStruct.Pin = IR_IN_Pin;
  GPIO_InitStruct.Mode = GPIO_MODE_INPUT;
  GPIO_InitStruct.Pull = GPIO_NOPULL;
  HAL_GPIO_Init(IR_IN_GPIO_Port, &GPIO_InitStruct);

  /*Configure GPIO pins : MEMS_SCK_Pin MEMS_MISO_Pin MEMS_MOSI_Pin */
  GPIO_InitStruct.Pin = MEMS_SCK_Pin|MEMS_MISO_Pin|MEMS_MOSI_Pin;
  GPIO_InitStruct.Mode = GPIO_MODE_AF_PP;
  GPIO_InitStruct.Pull = GPIO_NOPULL;
  GPIO_InitStruct.Speed = GPIO_SPEED_FREQ_VERY_HIGH;
  GPIO_InitStruct.Alternate = GPIO_AF5_SPI2;
  HAL_GPIO_Init(GPIOD, &GPIO_InitStruct);

  /*Configure GPIO pin : GYRO_INT1_Pin */
  GPIO_InitStruct.Pin = GYRO_INT1_Pin;
  GPIO_InitStruct.Mode = GPIO_MODE_EVT_RISING;
  GPIO_InitStruct.Pull = GPIO_NOPULL;
  HAL_GPIO_Init(GYRO_INT1_GPIO_Port, &GPIO_InitStruct);

  /*Configure GPIO pins : USART_TX_Pin USART_RX_Pin */
  GPIO_InitStruct.Pin = USART_TX_Pin|USART_RX_Pin;
  GPIO_InitStruct.Mode = GPIO_MODE_AF_PP;
  GPIO_InitStruct.Pull = GPIO_PULLUP;
  GPIO_InitStruct.Speed = GPIO_SPEED_FREQ_VERY_HIGH;
  GPIO_InitStruct.Alternate = GPIO_AF7_USART2;
  HAL_GPIO_Init(GPIOD, &GPIO_InitStruct);

  /*Configure GPIO pin : GYRO_CS_Pin */
  GPIO_InitStruct.Pin = GYRO_CS_Pin;
  GPIO_InitStruct.Mode = GPIO_MODE_OUTPUT_PP;
  GPIO_InitStruct.Pull = GPIO_NOPULL;
  GPIO_InitStruct.Speed = GPIO_SPEED_FREQ_VERY_HIGH;
  HAL_GPIO_Init(GYRO_CS_GPIO_Port, &GPIO_InitStruct);

  /*Configure GPIO pin : M3V3_REG_ON_Pin */
  GPIO_InitStruct.Pin = M3V3_REG_ON_Pin;
  GPIO_InitStruct.Mode = GPIO_MODE_OUTPUT_PP;
  GPIO_InitStruct.Pull = GPIO_NOPULL;
  GPIO_InitStruct.Speed = GPIO_SPEED_FREQ_LOW;
  HAL_GPIO_Init(M3V3_REG_ON_GPIO_Port, &GPIO_InitStruct);

  /*Configure GPIO pins : I2C1_SCL_Pin I2C1_SDA_Pin */
  GPIO_InitStruct.Pin = I2C1_SCL_Pin|I2C1_SDA_Pin;
  GPIO_InitStruct.Mode = GPIO_MODE_AF_OD;
  GPIO_InitStruct.Pull = GPIO_PULLUP;
  GPIO_InitStruct.Speed = GPIO_SPEED_FREQ_VERY_HIGH;
  GPIO_InitStruct.Alternate = GPIO_AF4_I2C1;
  HAL_GPIO_Init(GPIOB, &GPIO_InitStruct);

  /*Configure GPIO pin : GYRO_INT2_Pin */
  GPIO_InitStruct.Pin = GYRO_INT2_Pin;
  GPIO_InitStruct.Mode = GPIO_MODE_EVT_RISING;
  GPIO_InitStruct.Pull = GPIO_NOPULL;
  HAL_GPIO_Init(GYRO_INT2_GPIO_Port, &GPIO_InitStruct);

  /*Configure GPIO pin : XL_CS_Pin */
  GPIO_InitStruct.Pin = XL_CS_Pin;
  GPIO_InitStruct.Mode = GPIO_MODE_OUTPUT_PP;
  GPIO_InitStruct.Pull = GPIO_NOPULL;
  GPIO_InitStruct.Speed = GPIO_SPEED_FREQ_LOW;
  HAL_GPIO_Init(XL_CS_GPIO_Port, &GPIO_InitStruct);

  /* EXTI interrupt init*/
  HAL_NVIC_SetPriority(EXTI0_IRQn, 0, 0);
  HAL_NVIC_EnableIRQ(EXTI0_IRQn);

  HAL_NVIC_SetPriority(EXTI1_IRQn, 0, 0);
  HAL_NVIC_EnableIRQ(EXTI1_IRQn);

}

void Error_Handler(void)
{
  __disable_irq();
  while (1)
  {
  }
}
